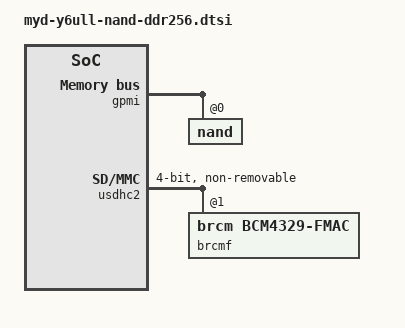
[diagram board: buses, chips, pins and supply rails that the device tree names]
// SPDX-License-Identifier: GPL-2.0
/*
 * Shared for myd-y6ull-14x14-nand-ddr256.dts and myd-y6ull-14x14-nand-ddr256-ecspi.dts:
 * DDR256, GPMI + fixed-partitions, SDIO WiFi on USDHC2 (LCD pin mux).
 * WiFi pinctrl is defined here so dtc always resolves the phandle (see pinctrl_wifi_nand).
 */

&{/memory@80000000} {
	reg = <0x80000000 0x10000000>;
};

&{/reserved-memory/linux,cma} {
	size = <0x04000000>;
};

&qspi {
	status = "disabled";
};

&gpmi {
	pinctrl-names = "default";
	pinctrl-0 = <&pinctrl_gpmi_nand_1>;
	fsl,max-nand-cs = <1>;
	status = "okay";

	nand@0 {
		reg = <0>;
		nand-on-flash-bbt;
		fsl,use-minimum-ecc;
	};

	partitions {
		compatible = "fixed-partitions";
		#address-cells = <1>;
		#size-cells = <1>;

		partition@0 {
			label = "boot";
			reg = <0x00000000 0x00500000>;
		};
		partition@500000 {
			label = "env";
			reg = <0x00500000 0x00100000>;
		};
		partition@600000 {
			label = "kernel";
			reg = <0x00600000 0x00a00000>;
		};
		partition@1000000 {
			label = "dtb";
			reg = <0x01000000 0x00100000>;
		};
		/* 256MiB raw: 0x10000000 - 0x01100000 */
		partition@1100000 {
			label = "rootfs";
			reg = <0x01100000 0x0ef00000>;
		};
	};
};

&usdhc2 {
	#address-cells = <1>;
	#size-cells = <0>;
	pinctrl-names = "default";
	max-frequency = <50000000>;
	pinctrl-0 = <&pinctrl_usdhc2_alt &pinctrl_wifi>;
	bus-width = <4>;
	no-1-8-v;
	non-removable;
	pm-ignore-notify;
	cap-power-off-card;
	status = "okay";

	brcmf: bcrmf@1 {
		reg = <1>;
		compatible = "brcm,bcm4329-fmac";
	};
};
